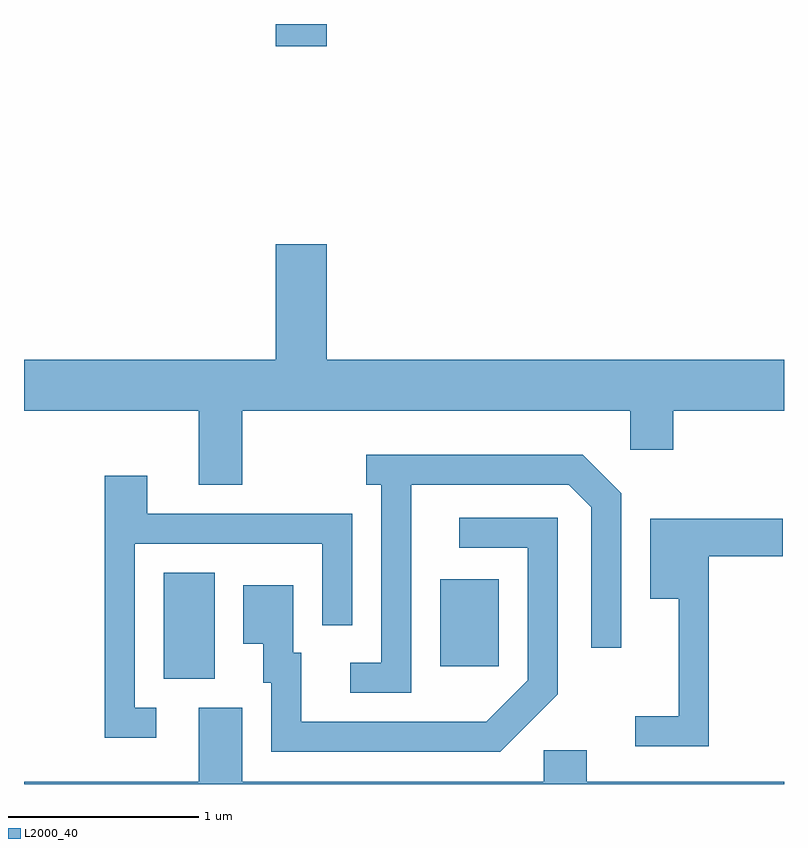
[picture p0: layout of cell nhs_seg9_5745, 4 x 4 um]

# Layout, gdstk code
import gdstk
lib = gdstk.Library(unit=1e-6, precision=1e-09)
def R(c, l, rs):  # rectangles x0, y0, x1, y1
    for r in rs: c.add(gdstk.rectangle(r[:2], r[2:], *l))
def P(c, l, *ps):  # polygons
    for p in ps: c.add(gdstk.Polygon(p, *l))
L2000_40 = (2000, 40)

nhs_seg9_5745 = lib.new_cell('nhs_seg9_5745')
R(nhs_seg9_5745, L2000_40, [(354.346,2076.986,354.614,2077.544), (355.801,2077.051,356.109,2077.509), (354.936,2080.316,355.204,2080.432)])
P(nhs_seg9_5745, L2000_40, [(354.759,2078.396),(356.801,2078.396),(356.801,2078.191),(357.029,2078.191),(357.029,2078.396),(357.611,2078.396),(357.611,2078.664),(355.204,2078.664),(355.204,2079.274),(354.936,2079.274),(354.936,2078.664),(353.611,2078.664),(353.611,2078.396),(354.531,2078.396),(354.531,2078.006),(354.759,2078.006)],
  [(355.649,2078.006),(356.479,2078.006),(356.596,2077.889),(356.596,2077.148),(356.754,2077.148),(356.754,2077.962),(356.552,2078.164),(355.413,2078.164),(355.413,2078.006),(355.491,2078.006),(355.491,2077.069),(355.328,2077.069),(355.328,2076.911),(355.649,2076.911)],
  [(354.308,2076.834),(354.194,2076.834),(354.194,2077.696),(355.181,2077.696),(355.181,2077.268),(355.339,2077.268),(355.339,2077.854),(354.259,2077.854),(354.259,2078.054),(354.036,2078.054),(354.036,2076.676),(354.308,2076.676)],
  [(356.419,2076.904),(356.419,2077.834),(355.903,2077.834),(355.903,2077.676),(356.261,2077.676),(356.261,2076.977),(356.044,2076.759),(355.069,2076.759),(355.069,2077.124),(355.029,2077.124),(355.029,2077.479),(354.766,2077.479),(354.766,2077.171),(354.871,2077.171),(354.871,2076.966),(354.911,2076.966),(354.911,2076.601),(356.117,2076.601)],
  [(357.214,2077.631),(357.604,2077.631),(357.604,2077.829),(356.906,2077.829),(356.906,2077.406),(357.056,2077.406),(357.056,2076.789),(356.828,2076.789),(356.828,2076.631),(357.214,2076.631)],
  [(357.611,2076.444),(356.574,2076.444),(356.574,2076.609),(356.346,2076.609),(356.346,2076.444),(354.759,2076.444),(354.759,2076.834),(354.531,2076.834),(354.531,2076.444),(353.611,2076.444),(353.611,2076.432),(357.611,2076.432)])

lib.write_gds('nhs_seg9_5745.gds')
